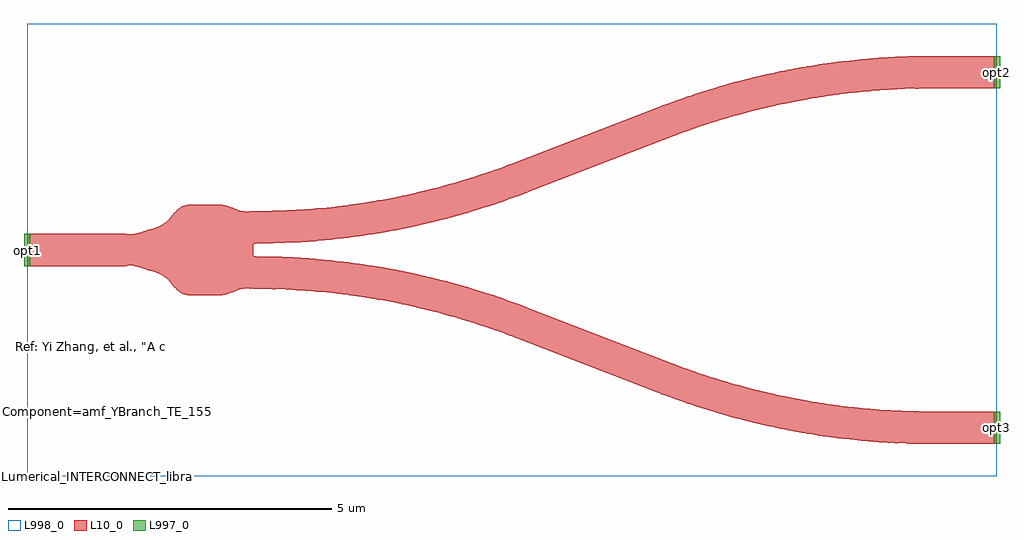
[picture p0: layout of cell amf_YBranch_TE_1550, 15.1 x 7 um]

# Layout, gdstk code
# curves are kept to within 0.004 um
import gdstk
lib = gdstk.Library(unit=1e-6, precision=1e-09)
def R(c, l, rs):  # rectangles x0, y0, x1, y1
    for r in rs: c.add(gdstk.rectangle(r[:2], r[2:], *l))
def P(c, l, *ps):  # polygons
    for p in ps: c.add(gdstk.Polygon(p, *l))
L10_0 = (10, 0)
L997_0 = (997, 0)
L998_0 = (998, 0)

amf_ybranch_te_1550 = lib.new_cell('amf_YBranch_TE_1550')
R(amf_ybranch_te_1550, L10_0, [(14,-3,15,-2.5), (0,-0.25,1.5,0.25), (14,2.5,15,3)])
P(amf_ybranch_te_1550, L10_0, [(13.958,-3),(13.737,-2.997),(13.737,-2.497),(14,-2.5),(14,-3)],
  [(12.533,-2.908),(12.153,-2.854),(11.788,-2.79),(11.441,-2.718),(11.09,-2.634),(10.772,-2.548),(10.422,-2.442),(10.055,-2.318),(9.765,-2.21),(9.945,-1.744),(10.285,-1.869),(10.575,-1.966),(10.937,-2.075),(11.231,-2.154),(11.532,-2.226),(11.872,-2.297),(12.193,-2.354),(12.533,-2.404)],
  [(13.733,-2.997),(13.446,-2.987),(13.119,-2.967),(12.533,-2.908),(12.533,-2.404),(13.125,-2.466),(13.458,-2.487),(13.737,-2.497)],
  [(9.765,-2.21),(7.555,-1.356),(7.735,-0.89),(9.945,-1.744)],
  [(6.738,-1.076),(6.377,-0.974),(5.968,-0.874),(5.591,-0.796),(5.166,-0.724),(4.708,-0.665),(4.322,-0.63),(3.899,-0.607),(3.5,-0.6),(3.5,-0.1),(3.935,-0.108),(4.34,-0.13),(4.706,-0.162),(5.119,-0.212),(5.532,-0.277),(5.935,-0.355),(6.286,-0.435),(6.738,-0.555)],
  [(7.555,-1.356),(7.131,-1.202),(6.738,-1.076),(6.738,-0.555),(7.237,-0.71),(7.735,-0.89)],
  [(13.737,2.497),(13.737,2.997),(14,3),(14,2.5)],
  [(9.945,1.744),(9.767,2.211),(10.055,2.318),(10.422,2.442),(10.772,2.548),(11.09,2.634),(11.441,2.718),(11.788,2.79),(12.153,2.854),(12.533,2.908),(12.533,2.404),(12.193,2.354),(11.872,2.297),(11.532,2.226),(11.231,2.154),(10.937,2.075),(10.575,1.966),(10.285,1.869)],
  [(12.533,2.404),(12.533,2.908),(13.119,2.967),(13.446,2.987),(13.737,2.997),(13.737,2.497),(13.458,2.487),(13.125,2.466)],
  [(7.735,0.89),(7.555,1.356),(9.765,2.21),(9.945,1.744)],
  [(3.5,0.1),(3.5,0.6),(3.899,0.607),(4.322,0.63),(4.708,0.665),(5.166,0.724),(5.591,0.796),(5.968,0.874),(6.377,0.974),(6.738,1.076),(6.738,0.555),(6.286,0.435),(5.935,0.355),(5.532,0.277),(5.119,0.212),(4.706,0.162),(4.34,0.13),(3.935,0.108)],
  [(6.738,0.555),(6.738,1.076),(7.131,1.202),(7.555,1.356),(7.735,0.89),(7.237,0.71)],
  [(2.378,-0.662),(2.321,-0.619),(2.156,-0.44),(2.11,-0.404),(2.058,-0.374),(1.964,-0.338),(1.692,-0.255),(1.617,-0.245),(1.5,-0.25),(1.5,0.25),(1.617,0.245),(1.683,0.253),(1.964,0.338),(2.058,0.374),(2.11,0.404),(2.156,0.44),(2.296,0.594),(2.378,0.662)],
  [(2.543,-0.703),(2.453,-0.692),(2.378,-0.662),(2.378,0.662),(2.438,0.688),(2.522,0.702),(2.962,0.703),(3.076,0.685),(3.268,0.617),(3.333,0.6),(3.377,0.595),(3.5,0.6),(3.5,-0.6),(3.433,-0.595),(3.333,-0.6),(3.268,-0.617),(3.097,-0.679),(2.991,-0.701)])
R(amf_ybranch_te_1550, L998_0, [(0,-3.5,15,3.5)])
amf_ybranch_te_1550.add(gdstk.FlexPath([(0.05,0),(-0.05,0)], 0.5, ends="flush", simple_path=True, layer=997, datatype=0))  # L997_0
amf_ybranch_te_1550.add(gdstk.FlexPath([(14.95,2.75),(15.05,2.75)], 0.5, ends="flush", simple_path=True, layer=997, datatype=0))  # L997_0
amf_ybranch_te_1550.add(gdstk.FlexPath([(14.95,-2.75),(15.05,-2.75)], 0.5, ends="flush", simple_path=True, layer=997, datatype=0))  # L997_0
amf_ybranch_te_1550.add(gdstk.Label('Ref: Yi Zhang, et al., \n"A compact and low loss Y-junction for submicron silicon waveguide", \nOptics Express, 2013.', (1,-1.5), layer=1003, texttype=0))
amf_ybranch_te_1550.add(gdstk.Label('Component=amf_YBranch_TE_1550', (1,-2.5), layer=998, texttype=0))
amf_ybranch_te_1550.add(gdstk.Label('Lumerical_INTERCONNECT_library=Design kits/SiEPIC_AMF', (1,-3.5), layer=998, texttype=0))
amf_ybranch_te_1550.add(gdstk.Label('opt1', (0,0), layer=997, texttype=0))
amf_ybranch_te_1550.add(gdstk.Label('opt2', (15,2.75), layer=997, texttype=0))
amf_ybranch_te_1550.add(gdstk.Label('opt3', (15,-2.75), layer=997, texttype=0))

lib.write_gds('amf_YBranch_TE_1550.gds')
